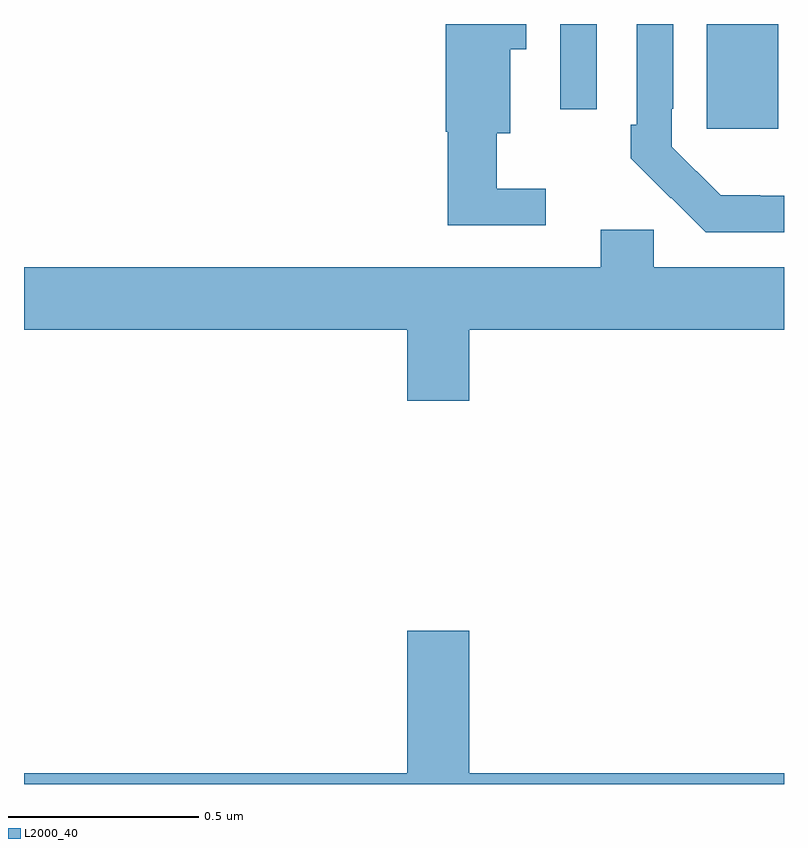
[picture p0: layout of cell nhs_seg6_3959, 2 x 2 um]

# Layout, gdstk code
import gdstk
lib = gdstk.Library(unit=1e-6, precision=1e-09)
def R(c, l, rs):  # rectangles x0, y0, x1, y1
    for r in rs: c.add(gdstk.rectangle(r[:2], r[2:], *l))
def P(c, l, *ps):  # polygons
    for p in ps: c.add(gdstk.Polygon(p, *l))
L2000_40 = (2000, 40)

nhs_seg6_3959 = lib.new_cell('nhs_seg6_3959')
R(nhs_seg6_3959, L2000_40, [(165.797,921.225,165.985,921.499), (165.411,921.276,165.507,921.5)])
P(nhs_seg6_3959, L2000_40, [(165.373,921.067),(165.244,921.067),(165.244,921.212),(165.28,921.212),(165.28,921.434),(165.322,921.434),(165.322,921.5),(165.11,921.5),(165.11,921.216),(165.115,921.216),(165.115,920.97),(165.373,920.97)],
  [(166,921.048),(165.937,921.048),(165.937,921.049),(165.834,921.049),(165.705,921.177),(165.705,921.277),(165.708,921.277),(165.708,921.5),(165.612,921.5),(165.612,921.235),(165.597,921.235),(165.597,921.147),(165.702,921.042),(165.703,921.043),(165.794,920.952),(166,920.952)],
  [(165.172,920.696),(166,920.696),(166,920.86),(165.657,920.86),(165.657,920.958),(165.518,920.958),(165.518,920.86),(164,920.86),(164,920.696),(165.008,920.696),(165.008,920.508),(165.172,920.508)],
  [(166,919.528),(165.172,919.528),(165.172,919.903),(165.008,919.903),(165.008,919.528),(164,919.528),(164,919.5),(166,919.5)])

lib.write_gds('nhs_seg6_3959.gds')
